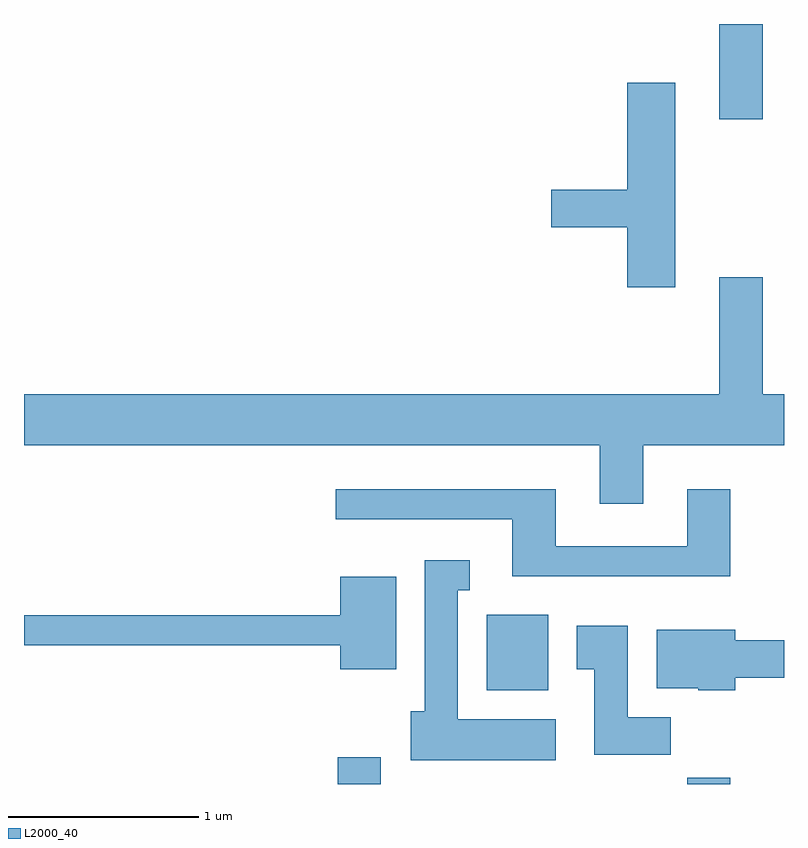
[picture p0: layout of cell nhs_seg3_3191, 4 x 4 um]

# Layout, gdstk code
import gdstk
lib = gdstk.Library(unit=1e-6, precision=1e-09)
def R(c, l, rs):  # rectangles x0, y0, x1, y1
    for r in rs: c.add(gdstk.rectangle(r[:2], r[2:], *l))
def P(c, l, *ps):  # polygons
    for p in ps: c.add(gdstk.Polygon(p, *l))
L2000_40 = (2000, 40)

nhs_seg3_3191 = lib.new_cell('nhs_seg3_3191')
R(nhs_seg3_3191, L2000_40, [(279.261,1241.892,279.489,1242.034), (281.101,1241.892,281.329,1241.924), (280.046,1242.386,280.369,1242.784), (281.271,1245.391,281.499,1245.892)])
P(nhs_seg3_3191, L2000_40, [(281.039,1245.584),(280.786,1245.584),(280.786,1245.019),(280.386,1245.019),(280.386,1244.821),(280.786,1244.821),(280.786,1244.506),(281.039,1244.506)],
  [(280.869,1243.676),(281.611,1243.676),(281.611,1243.944),(281.499,1243.944),(281.499,1244.559),(281.271,1244.559),(281.271,1243.944),(277.611,1243.944),(277.611,1243.676),(280.641,1243.676),(280.641,1243.366),(280.869,1243.366)],
  [(281.329,1243.444),(281.101,1243.444),(281.101,1243.144),(280.409,1243.144),(280.409,1243.444),(279.253,1243.444),(279.253,1243.286),(280.181,1243.286),(280.181,1242.986),(281.329,1242.986)],
  [(280.409,1242.234),(279.894,1242.234),(279.894,1242.911),(279.958,1242.911),(279.958,1243.069),(279.721,1243.069),(279.721,1242.274),(279.646,1242.274),(279.646,1242.016),(280.409,1242.016)],
  [(279.569,1242.984),(279.276,1242.984),(279.276,1242.779),(277.611,1242.779),(277.611,1242.621),(279.276,1242.621),(279.276,1242.496),(279.569,1242.496)],
  [(281.014,1242.244),(280.789,1242.244),(280.789,1242.724),(280.521,1242.724),(280.521,1242.496),(280.611,1242.496),(280.611,1242.046),(281.014,1242.046)],
  [(281.354,1242.451),(281.611,1242.451),(281.611,1242.649),(281.354,1242.649),(281.354,1242.704),(280.941,1242.704),(280.941,1242.396),(281.16,1242.396),(281.16,1242.386),(281.354,1242.386)])

lib.write_gds('nhs_seg3_3191.gds')
